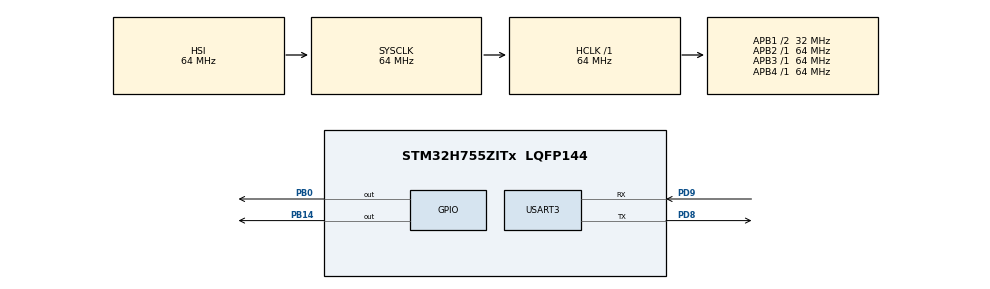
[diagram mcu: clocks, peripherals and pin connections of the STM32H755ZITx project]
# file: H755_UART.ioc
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CORTEX_M7.default_mode_Activation=1
CortexM4.IPs=CORTEX_M4\:I,FATFS_M4\:I,FREERTOS_M4\:I,IWDG2\:I,OPENAMP_M4\:I,PDM2PCM_M4\:I,PWR,RCC,RESMGR_UTILITY,SYS_M4\:I,USB_DEVICE_M4\:I,USB_HOST_M4\:I,VREFBUF,WWDG2\:I,GPIO,DMA,BDMA,MDMA,NVIC2\:I
CortexM7.IPs=CORTEX_M7\:I,FATFS_M7\:I,FREERTOS_M7\:I,IWDG1\:I,OPENAMP_M7\:I,PDM2PCM_M7\:I,PWR\:I,RCC\:I,RESMGR_UTILITY\:I,SYS\:I,USB_DEVICE_M7\:I,USB_HOST_M7\:I,VREFBUF\:I,WWDG1\:I,GPIO\:I,DMA\:I,BDMA\:I,MDMA\:I,NVIC1\:I,COMP2\:I,USART3\:I
CortexM7.Pins=PB0,PB14
Mcu.Family=STM32H7
Mcu.Name=STM32H755ZITx
Mcu.Package=LQFP144
NVIC1.PriorityGroup=NVIC_PRIORITYGROUP_4
NVIC2.PriorityGroup=NVIC_PRIORITYGROUP_4
PB0.PinAttribute=CortexM7
PB0.Signal=GPIO_Output
PB14.PinAttribute=CortexM7
PB14.Signal=GPIO_Output
PD8.Mode=Asynchronous
PD8.PinAttribute=CortexM7
PD8.Signal=USART3_TX
PD9.Mode=Asynchronous
PD9.PinAttribute=CortexM7
PD9.Signal=USART3_RX
ProjectManager.HeapSize=M4-0x200,M7-0x200
ProjectManager.StackSize=M4-0x400,M7-0x400
ProjectManager.TargetToolchain=STM32CubeIDE
RCC.ADCFreq_Value=129000000
RCC.APB1Freq_Value=32000000
RCC.APB2Freq_Value=64000000
RCC.APB3Freq_Value=64000000
RCC.APB4Freq_Value=64000000
RCC.CortexFreq_Value=64000000
RCC.D2PPRE1=RCC_APB1_DIV2
RCC.HCLKFreq_Value=64000000
RCC.SYSCLKFreq_VALUE=64000000
RCC.USBFreq_Value=129000000
SYS.userName=SYS_M7
USART3.VirtualMode-Asynchronous=VM_ASYNC
VP_SYS_M4_VS_Systick.Mode=SysTick
board=custom

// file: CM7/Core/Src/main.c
/* USER CODE BEGIN Header */
/**
  ******************************************************************************
  * @file           : main.c
  * @brief          : Main program body
  ******************************************************************************
  * @attention
  *
  * Copyright (c) 2026 STMicroelectronics.
  * All rights reserved.
  *
  * This software is licensed under terms that can be found in the LICENSE file
  * in the root directory of this software component.
  * If no LICENSE file comes with this software, it is provided AS-IS.
  *
  ******************************************************************************
  */
/* USER CODE END Header */
#include "main.h"
#include <string.h>

/* USER CODE BEGIN PD */

/* DUAL_CORE_BOOT_SYNC_SEQUENCE: Define for dual core boot synchronization    */
/*                             demonstration code based on hardware semaphore */
/* This define is present in both CM7/CM4 projects                            */
/* To comment when developping/debugging on a single core                     */
#define DUAL_CORE_BOOT_SYNC_SEQUENCE

#if defined(DUAL_CORE_BOOT_SYNC_SEQUENCE)
#ifndef HSEM_ID_0
#define HSEM_ID_0 (0U) /* HW semaphore 0*/
#endif
#endif /* DUAL_CORE_BOOT_SYNC_SEQUENCE */

/* USER CODE END PD */

/* USER CODE BEGIN PM */
#define CARRIAGE_RETURN 13 //ASCII equivalent for 13 is '/r', or enter
#define LINE_FEED  10 // ASCII equivalent for 10 is '/n, or line feedback
#define LED_ON  "led on"
#define LED_OFF  "led off"
#define LED_RED  1
#define LED_GREEN  2
#define LED_ON_MESSAGE "LED TURNED ON\r\n"
#define LED_OFF_MESSAGE "LED TURNED OFF\r\n"
#define ERROR_MESSAGE "Unknown command\r\n"
/* USER CODE END PM */

UART_HandleTypeDef huart3;

void SystemClock_Config(void);
static void MPU_Config(void);
static void MX_GPIO_Init(void);
static void MX_USART3_UART_Init(void);

int main(void)
{

/* USER CODE BEGIN Boot_Mode_Sequence_0 */
#if defined(DUAL_CORE_BOOT_SYNC_SEQUENCE)
  int32_t timeout;
#endif /* DUAL_CORE_BOOT_SYNC_SEQUENCE */
/* USER CODE END Boot_Mode_Sequence_0 */

  /* MPU Configuration--------------------------------------------------------*/
  MPU_Config();

/* USER CODE BEGIN Boot_Mode_Sequence_1 */
#if defined(DUAL_CORE_BOOT_SYNC_SEQUENCE)
  /* Wait until CPU2 boots and enters in stop mode or timeout*/
  timeout = 0xFFFF;
  while((__HAL_RCC_GET_FLAG(RCC_FLAG_D2CKRDY) != RESET) && (timeout-- > 0));
  if ( timeout < 0 )
  {
  Error_Handler();
  }
#endif /* DUAL_CORE_BOOT_SYNC_SEQUENCE */
/* USER CODE END Boot_Mode_Sequence_1 */
  /* MCU Configuration--------------------------------------------------------*/

  /* Reset of all peripherals, Initializes the Flash interface and the Systick. */
  HAL_Init();

  /* Configure the system clock */
  SystemClock_Config();
/* USER CODE BEGIN Boot_Mode_Sequence_2 */
#if defined(DUAL_CORE_BOOT_SYNC_SEQUENCE)
/* When system initialization is finished, Cortex-M7 will release Cortex-M4 by means of
HSEM notification */
/*HW semaphore Clock enable*/
__HAL_RCC_HSEM_CLK_ENABLE();
/*Take HSEM */
HAL_HSEM_FastTake(HSEM_ID_0);
/*Release HSEM in order to notify the CPU2(CM4)*/
HAL_HSEM_Release(HSEM_ID_0,0);
/* wait until CPU2 wakes up from stop mode */
timeout = 0xFFFF;
while((__HAL_RCC_GET_FLAG(RCC_FLAG_D2CKRDY) == RESET) && (timeout-- > 0));
if ( timeout < 0 )
{
Error_Handler();
}
#endif /* DUAL_CORE_BOOT_SYNC_SEQUENCE */
/* USER CODE END Boot_Mode_Sequence_2 */

  /* Initialize all configured peripherals */
  MX_GPIO_Init();
  MX_USART3_UART_Init();
  /* USER CODE BEGIN 2 */
  //uint8_t data_tx = 'a';
  uint8_t uart_rx;
  uint8_t data_rx[50];
  uint8_t iterator = 0;

  /* USER CODE END 2 */

  /* Infinite loop */
  /* USER CODE BEGIN WHILE */
  while (1)
  {

	if(HAL_UART_Receive(&huart3, &uart_rx,1,1000) == HAL_OK){

		// check the received data is not a CR or LF. In case it is, it should be ignored and not put in the array
		if(uart_rx != CARRIAGE_RETURN && uart_rx != LINE_FEED){
			data_rx[iterator] = uart_rx;
			iterator++;
		}

		/* if the iterator value is already the max value of data_rx, then send the message.
		 in order to do this it is also necessary to consider the byte reserved for /0, which is the
		 string termination line */
		if (iterator == (sizeof(data_rx)-1) || uart_rx == CARRIAGE_RETURN || uart_rx == LINE_FEED){

			// add termination char to convert bytes to string
			data_rx[iterator] = 0;

			if(iterator>0){

				// check if the received string is the same as led on
				if(strcmp((const char *)data_rx, LED_ON) == 0){
					HAL_GPIO_WritePin(GPIOB, GPIO_PIN_0, GPIO_PIN_SET);
					HAL_UART_Transmit(&huart3, (const uint8_t *)LED_ON_MESSAGE, sizeof(LED_ON_MESSAGE),1000);
				}
				else if(strcmp((const char *)data_rx, LED_OFF) == 0){
					HAL_GPIO_WritePin(GPIOB, GPIO_PIN_0, GPIO_PIN_RESET);
					HAL_UART_Transmit(&huart3, (const uint8_t *)LED_OFF_MESSAGE, sizeof(LED_OFF_MESSAGE),1000);
				}
				else{
					HAL_UART_Transmit(&huart3, (const uint8_t *)ERROR_MESSAGE, sizeof(ERROR_MESSAGE),1000);
				}
				HAL_GPIO_WritePin(GPIOB, GPIO_PIN_14,GPIO_PIN_RESET);

			}

			// if iterator is 0 we don't want to send just a "enter" char
			memset(data_rx,0,sizeof(data_rx));
			iterator = 0;
		}
	}
	else{
//		HAL_GPIO_WritePin(GPIOB, GPIO_PIN_0,GPIO_PIN_RESET);
		HAL_GPIO_TogglePin(GPIOB, GPIO_PIN_14);

	}
}
}
    /* USER CODE END WHILE */

void SystemClock_Config(void)
{
  RCC_OscInitTypeDef RCC_OscInitStruct = {0};
  RCC_ClkInitTypeDef RCC_ClkInitStruct = {0};

  /** Supply configuration update enable
  */
  HAL_PWREx_ConfigSupply(PWR_DIRECT_SMPS_SUPPLY);

  /** Configure the main internal regulator output voltage
  */
  __HAL_PWR_VOLTAGESCALING_CONFIG(PWR_REGULATOR_VOLTAGE_SCALE3);

  while(!__HAL_PWR_GET_FLAG(PWR_FLAG_VOSRDY)) {}

  /** Initializes the RCC Oscillators according to the specified parameters
  * in the RCC_OscInitTypeDef structure.
  */
  RCC_OscInitStruct.OscillatorType = RCC_OSCILLATORTYPE_HSI;
  RCC_OscInitStruct.HSIState = RCC_HSI_DIV1;
  RCC_OscInitStruct.HSICalibrationValue = RCC_HSICALIBRATION_DEFAULT;
  RCC_OscInitStruct.PLL.PLLState = RCC_PLL_NONE;
  if (HAL_RCC_OscConfig(&RCC_OscInitStruct) != HAL_OK)
  {
    Error_Handler();
  }

  /** Initializes the CPU, AHB and APB buses clocks
  */
  RCC_ClkInitStruct.ClockType = RCC_CLOCKTYPE_HCLK|RCC_CLOCKTYPE_SYSCLK
                              |RCC_CLOCKTYPE_PCLK1|RCC_CLOCKTYPE_PCLK2
                              |RCC_CLOCKTYPE_D3PCLK1|RCC_CLOCKTYPE_D1PCLK1;
  RCC_ClkInitStruct.SYSCLKSource = RCC_SYSCLKSOURCE_HSI;
  RCC_ClkInitStruct.SYSCLKDivider = RCC_SYSCLK_DIV1;
  RCC_ClkInitStruct.AHBCLKDivider = RCC_HCLK_DIV1;
  RCC_ClkInitStruct.APB3CLKDivider = RCC_APB3_DIV1;
  RCC_ClkInitStruct.APB1CLKDivider = RCC_APB1_DIV2;
  RCC_ClkInitStruct.APB2CLKDivider = RCC_APB2_DIV1;
  RCC_ClkInitStruct.APB4CLKDivider = RCC_APB4_DIV1;

  if (HAL_RCC_ClockConfig(&RCC_ClkInitStruct, FLASH_LATENCY_1) != HAL_OK)
  {
    Error_Handler();
  }
}

static void MX_USART3_UART_Init(void)
{

  huart3.Instance = USART3;
  huart3.Init.BaudRate = 115200;
  huart3.Init.WordLength = UART_WORDLENGTH_8B;
  huart3.Init.StopBits = UART_STOPBITS_1;
  huart3.Init.Parity = UART_PARITY_NONE;
  huart3.Init.Mode = UART_MODE_TX_RX;
  huart3.Init.HwFlowCtl = UART_HWCONTROL_NONE;
  huart3.Init.OverSampling = UART_OVERSAMPLING_16;
  huart3.Init.OneBitSampling = UART_ONE_BIT_SAMPLE_DISABLE;
  huart3.Init.ClockPrescaler = UART_PRESCALER_DIV1;
  huart3.AdvancedInit.AdvFeatureInit = UART_ADVFEATURE_NO_INIT;
  if (HAL_UART_Init(&huart3) != HAL_OK)
  {
    Error_Handler();
  }
  if (HAL_UARTEx_SetTxFifoThreshold(&huart3, UART_TXFIFO_THRESHOLD_1_8) != HAL_OK)
  {
    Error_Handler();
  }
  if (HAL_UARTEx_SetRxFifoThreshold(&huart3, UART_RXFIFO_THRESHOLD_1_8) != HAL_OK)
  {
    Error_Handler();
  }
  if (HAL_UARTEx_DisableFifoMode(&huart3) != HAL_OK)
  {
    Error_Handler();
  }

}

static void MX_GPIO_Init(void)
{
  GPIO_InitTypeDef GPIO_InitStruct = {0};

  /* GPIO Ports Clock Enable */
  __HAL_RCC_GPIOB_CLK_ENABLE();
  __HAL_RCC_GPIOD_CLK_ENABLE();

  /*Configure GPIO pin Output Level */
  HAL_GPIO_WritePin(GPIOB, GPIO_PIN_0|GPIO_PIN_14, GPIO_PIN_RESET);

  /*Configure GPIO pins : PB0 PB14 */
  GPIO_InitStruct.Pin = GPIO_PIN_0|GPIO_PIN_14;
  GPIO_InitStruct.Mode = GPIO_MODE_OUTPUT_PP;
  GPIO_InitStruct.Pull = GPIO_NOPULL;
  GPIO_InitStruct.Speed = GPIO_SPEED_FREQ_LOW;
  HAL_GPIO_Init(GPIOB, &GPIO_InitStruct);

}

 /* MPU Configuration */

void MPU_Config(void)
{
  MPU_Region_InitTypeDef MPU_InitStruct = {0};

  /* Disables the MPU */
  HAL_MPU_Disable();

  /** Initializes and configures the Region and the memory to be protected
  */
  MPU_InitStruct.Enable = MPU_REGION_ENABLE;
  MPU_InitStruct.Number = MPU_REGION_NUMBER0;
  MPU_InitStruct.BaseAddress = 0x0;
  MPU_InitStruct.Size = MPU_REGION_SIZE_4GB;
  MPU_InitStruct.SubRegionDisable = 0x87;
  MPU_InitStruct.TypeExtField = MPU_TEX_LEVEL0;
  MPU_InitStruct.AccessPermission = MPU_REGION_NO_ACCESS;
  MPU_InitStruct.DisableExec = MPU_INSTRUCTION_ACCESS_DISABLE;
  MPU_InitStruct.IsShareable = MPU_ACCESS_SHAREABLE;
  MPU_InitStruct.IsCacheable = MPU_ACCESS_NOT_CACHEABLE;
  MPU_InitStruct.IsBufferable = MPU_ACCESS_NOT_BUFFERABLE;

  HAL_MPU_ConfigRegion(&MPU_InitStruct);
  /* Enables the MPU */
  HAL_MPU_Enable(MPU_PRIVILEGED_DEFAULT);

}

void Error_Handler(void)
{
  __disable_irq();
  while (1)
  {
  }
}
